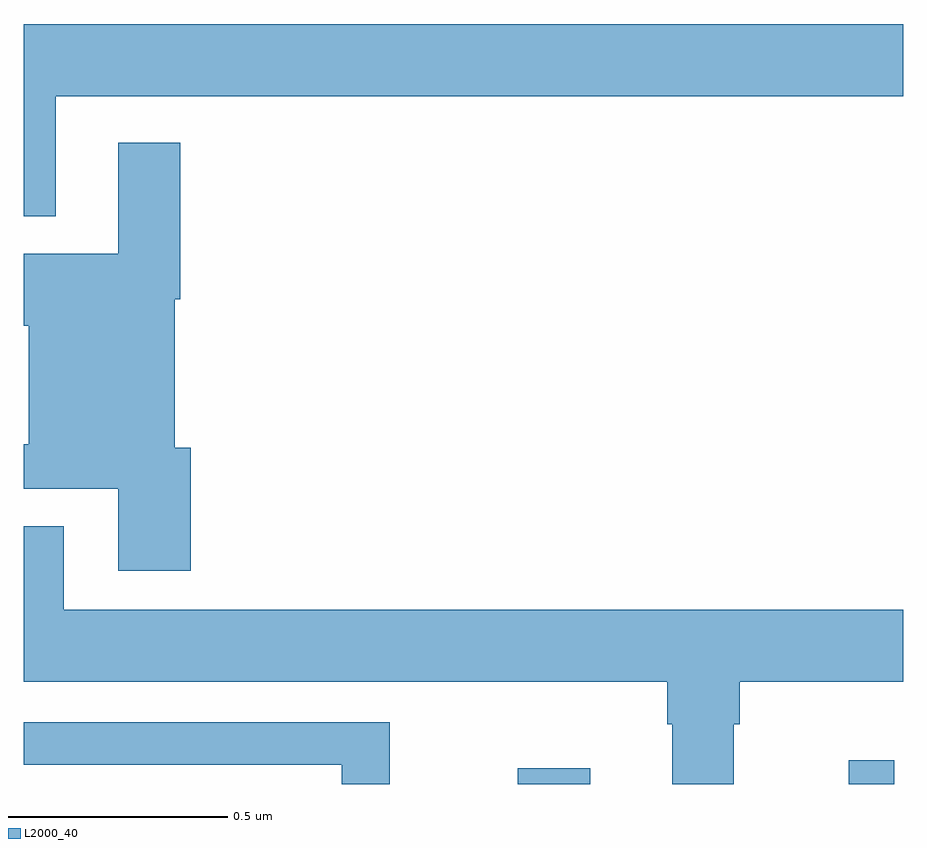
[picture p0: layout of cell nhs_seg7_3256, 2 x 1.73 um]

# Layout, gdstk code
import gdstk
lib = gdstk.Library(unit=1e-6, precision=1e-09)
def R(c, l, rs):  # rectangles x0, y0, x1, y1
    for r in rs: c.add(gdstk.rectangle(r[:2], r[2:], *l))
def P(c, l, *ps):  # polygons
    for p in ps: c.add(gdstk.Polygon(p, *l))
L2000_40 = (2000, 40)

nhs_seg7_3256 = lib.new_cell('nhs_seg7_3256')
R(nhs_seg7_3256, L2000_40, [(157.123,1051,157.288,1051.036), (157.876,1051,157.979,1051.054)])
P(nhs_seg7_3256, L2000_40, [(156.073,1052.564),(158,1052.564),(158,1052.728),(156,1052.728),(156,1052.291),(156.073,1052.291)],
  [(156.38,1051.764),(156.343,1051.764),(156.343,1052.102),(156.356,1052.102),(156.356,1052.458),(156.215,1052.458),(156.215,1052.206),(156,1052.206),(156,1052.042),(156.011,1052.042),(156.011,1051.772),(156,1051.772),(156,1051.671),(156.215,1051.671),(156.215,1051.485),(156.38,1051.485)],
  [(157.615,1051.136),(157.628,1051.136),(157.628,1051.232),(158,1051.232),(158,1051.396),(156.091,1051.396),(156.091,1051.586),(156,1051.586),(156,1051.232),(157.463,1051.232),(157.463,1051.136),(157.475,1051.136),(157.475,1051),(157.615,1051)],
  [(156.832,1051.14),(156,1051.14),(156,1051.044),(156.723,1051.044),(156.723,1051),(156.832,1051)])

lib.write_gds('nhs_seg7_3256.gds')
